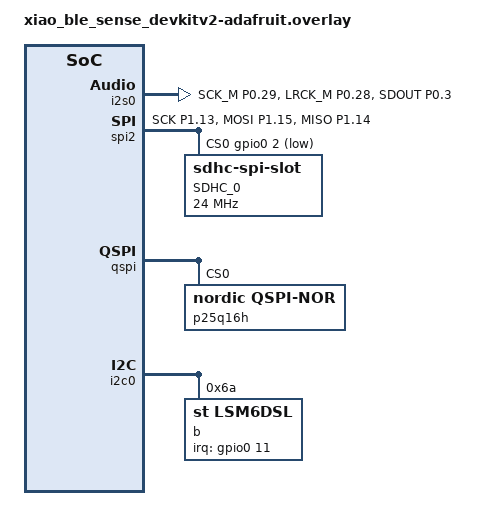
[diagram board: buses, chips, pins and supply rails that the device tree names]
&i2s0 {
    status = "okay";
    pinctrl-0 = <&i2s0_default>;
    pinctrl-names = "default";
    label = "I2S_0";
};

&pinctrl {
    i2s0_default: i2s0_default {
        group1 {
            psels = <NRF_PSEL(I2S_SCK_M, 0, 29)>,    // SCK pin (bit clock) A3
                    <NRF_PSEL(I2S_LRCK_M, 0, 28)>,   // LRCK pin (word select clock) A2
                    <NRF_PSEL(I2S_SDOUT, 0, 3)>;    // SDOUT pin (data out) A1
        };
    };
};

&spi2 {
    status = "okay";
    pinctrl-0 = <&custom_spi>;
    pinctrl-1 = <&custom_spi>;
    pinctrl-names = "default", "sleep";
    cs-gpios = <&gpio0 2 GPIO_ACTIVE_LOW>;  // CS pin on P0.28

    sdhc0: sdhc@0 {
        compatible = "zephyr,sdhc-spi-slot";
        reg = <0>;
        status = "okay";
        label = "SDHC_0";
        mmc {
            compatible = "zephyr,sdmmc-disk";
            status = "okay";
        };
        spi-max-frequency = <24000000>;  // 24 MHz SPI speed for SD card
    };
};

&pinctrl {
    custom_spi: custom_spi {
        group1 {
            psels = <NRF_PSEL(SPIM_SCK, 1, 13)>,  // SCK on P1.13
                    <NRF_PSEL(SPIM_MOSI, 1, 15)>, // MOSI on P1.15
                    <NRF_PSEL(SPIM_MISO, 1, 14)>; // MISO on P1.14
        };
    };
};

&uart0 {
    status = "disabled";
};

&qspi {
	status = "okay";
	pinctrl-0 = <&qspi_default>;
	pinctrl-1 = <&qspi_default>; // the pins shouldn't change in sleep mode
	pinctrl-names = "default", "sleep";
	p25q16h: p25q16h@0 {
		compatible = "nordic,qspi-nor";
		reg = <0>;
		sck-frequency = <104000000>;
		quad-enable-requirements = "S2B1v1";
		jedec-id = [85 60 15];
		sfdp-bfp = [
			e5 20 f1 ff  ff ff ff 00  44 eb 08 6b  08 3b 80 bb
			ee ff ff ff  ff ff 00 ff  ff ff 00 ff  0c 20 0f 52
			10 d8 08 81
		];
		size = <16777216>;
		has-dpd;
		t-enter-dpd = <3000>;
		t-exit-dpd = <8000>;
	};
};

&i2c0 {
    lsm6ds3tr_c: lsm6ds3tr-c@6a {
		compatible = "st,lsm6dsl";
		reg = <0x6a>;
		irq-gpios = <&gpio0 11 GPIO_ACTIVE_HIGH>;
		status = "okay";
        label = "b";
        // wakeup-source = true;
	};
};

&i2c1{
    status = "disabled";
};

&temp {
    status = "disabled";
};

/* The event log (src/lr_log.c) in the chip's flash, not on the SD card whose faults it records: the top 16 KB of the
 * 32 KB settings area (settings keep the lower 16 KB; the bonds need a few hundred bytes). Just below the bootloader
 * (0xF4000), in the 40 KB that it keeps through a DFU and that UF2 copies do not reach: an update leaves the log. */
&storage_partition { reg = <0x000ec000 0x00004000>; };
&flash0 {
	partitions {
		lr_log_partition: partition@f0000 {
			label = "lr_log";
			reg = <0x000f0000 0x00004000>;
		};
	};
};

